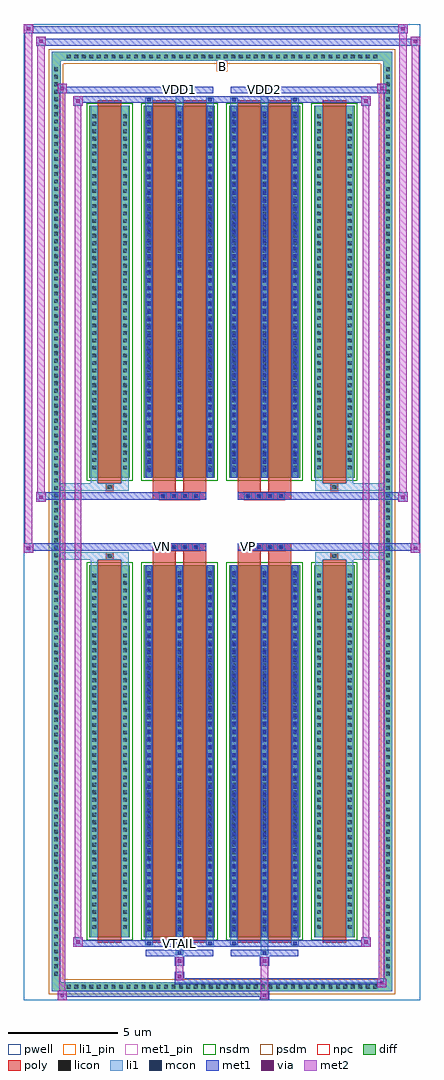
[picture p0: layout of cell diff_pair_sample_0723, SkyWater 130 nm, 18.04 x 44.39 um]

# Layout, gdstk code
import gdstk
lib = gdstk.Library(unit=1e-6, precision=5e-09)
def R(c, l, rs):  # rectangles x0, y0, x1, y1
    for r in rs: c.add(gdstk.rectangle(r[:2], r[2:], *l))
def A(c, l, x, y, w, h, nx, ny, dx, dy):  # array of equal rectangles
    R(c, l, [(x+i*dx, y+j*dy, x+i*dx+w, y+j*dy+h) for i in range(nx) for j in range(ny)])
def P(c, l, *ps):  # polygons
    for p in ps: c.add(gdstk.Polygon(p, *l))
pwell = (64, 44)
diff = (65, 20)
poly = (66, 20)
licon = (66, 44)
li1_pin = (67, 16)
li1 = (67, 20)
mcon = (67, 44)
met1_pin = (68, 16)
met1 = (68, 20)
via = (68, 44)
met2 = (69, 20)
nsdm = (93, 44)
psdm = (94, 20)
npc = (95, 20)

diff_pair_sample_0723 = lib.new_cell('diff_pair_sample_0723')
R(diff_pair_sample_0723, pwell, [(-9.02,-21.76,9.02,22.63), (-6.34,-19.95,-0.01,-0.795), (0.01,-19.95,6.34,-0.795), (-6.34,0.795,-0.01,19.95), (0.01,0.795,6.34,19.95)])
A(diff_pair_sample_0723, diff, -7.175, -21.36, 0.41, 0.41, 42, 2, 0.34, 42.31)
A(diff_pair_sample_0723, diff, -7.75, -20.775, 0.41, 0.41, 1, 122, 0, 0.34)
A(diff_pair_sample_0723, diff, 7.34, -20.775, 0.41, 0.41, 1, 122, 0, 0.34)
R(diff_pair_sample_0723, diff, [(-7.175,-21.36,7.175,-20.95), (-7.75,-20.775,-7.34,20.775), (7.34,-20.775,7.75,20.775), (-6.03,-18.905,-4.19,-1.985), (-3.55,-18.905,-0.32,-1.985), (0.32,-18.905,3.55,-1.985), (4.19,-18.905,6.03,-1.985), (-6.03,1.985,-4.19,18.905), (-3.55,1.985,-0.32,18.905), (0.32,1.985,3.55,18.905), (4.19,1.985,6.03,18.905), (-7.175,20.95,7.175,21.36)])
P(diff_pair_sample_0723, diff, [(7.75,21.36),(-7.75,21.36),(-7.75,-20.95),(-7.34,-20.95),(-7.34,20.95),(7.34,20.95),(7.34,-20.95),(-7.34,-20.95),(-7.75,-20.95),(-7.75,-21.36),(7.75,-21.36)])
A(diff_pair_sample_0723, poly, -2.85, -1.325, 0.33, 0.33, 4, 2, 0.5, 2.32)
A(diff_pair_sample_0723, poly, 1.02, -1.325, 0.33, 0.33, 4, 2, 0.5, 2.32)
R(diff_pair_sample_0723, poly, [(-5.64,-19.155,-4.58,-1.735), (-3.16,-19.155,-2.1,-1.735), (-1.77,-19.155,-0.71,-1.735), (0.71,-19.155,1.77,-1.735), (2.1,-19.155,3.16,-1.735), (4.58,-19.155,5.64,-1.735), (-5.275,-1.735,-4.945,-1.405), (-5.275,-1.735,-4.945,-1.405), (-3.16,-1.735,-2.1,-1.325), (-1.77,-1.735,-0.71,-1.325), (0.71,-1.735,1.77,-1.325), (2.1,-1.735,3.16,-1.325), (4.945,-1.735,5.275,-1.405), (4.945,-1.735,5.275,-1.405), (-3.16,-1.325,-0.71,-0.995), (0.71,-1.325,3.16,-0.995), (-3.16,0.995,-0.71,1.325), (0.71,0.995,3.16,1.325), (-3.16,1.325,-2.1,1.735), (-1.77,1.325,-0.71,1.735), (0.71,1.325,1.77,1.735), (2.1,1.325,3.16,1.735), (-5.275,1.405,-4.945,1.735), (-5.275,1.405,-4.945,1.735), (4.945,1.405,5.275,1.735), (4.945,1.405,5.275,1.735), (-5.64,1.735,-4.58,19.155), (-3.16,1.735,-2.1,19.155), (-1.77,1.735,-0.71,19.155), (0.71,1.735,1.77,19.155), (2.1,1.735,3.16,19.155), (4.58,1.735,5.64,19.155)])
A(diff_pair_sample_0723, licon, -7.055, -21.24, 0.17, 0.17, 42, 2, 0.34, 42.31)
A(diff_pair_sample_0723, licon, -7.63, -20.655, 0.17, 0.17, 1, 122, 0, 0.34)
A(diff_pair_sample_0723, licon, 7.46, -20.655, 0.17, 0.17, 1, 122, 0, 0.34)
A(diff_pair_sample_0723, licon, -5.89, -18.52, 0.17, 0.17, 1, 48, 0, 0.34)
A(diff_pair_sample_0723, licon, -4.5, -18.52, 0.17, 0.17, 1, 48, 0, 0.34)
A(diff_pair_sample_0723, licon, -3.41, -18.52, 0.17, 0.17, 3, 48, 1.39, 0.34)
A(diff_pair_sample_0723, licon, 0.46, -18.52, 0.17, 0.17, 3, 48, 1.39, 0.34)
A(diff_pair_sample_0723, licon, 4.33, -18.52, 0.17, 0.17, 1, 48, 0, 0.34)
A(diff_pair_sample_0723, licon, 5.72, -18.52, 0.17, 0.17, 1, 48, 0, 0.34)
A(diff_pair_sample_0723, licon, -2.77, -1.245, 0.17, 0.17, 4, 2, 0.5, 2.32)
A(diff_pair_sample_0723, licon, 1.1, -1.245, 0.17, 0.17, 4, 2, 0.5, 2.32)
A(diff_pair_sample_0723, licon, -5.89, 2.37, 0.17, 0.17, 1, 48, 0, 0.34)
A(diff_pair_sample_0723, licon, -4.5, 2.37, 0.17, 0.17, 1, 48, 0, 0.34)
A(diff_pair_sample_0723, licon, -3.41, 2.37, 0.17, 0.17, 3, 48, 1.39, 0.34)
A(diff_pair_sample_0723, licon, 0.46, 2.37, 0.17, 0.17, 3, 48, 1.39, 0.34)
A(diff_pair_sample_0723, licon, 4.33, 2.37, 0.17, 0.17, 1, 48, 0, 0.34)
A(diff_pair_sample_0723, licon, 5.72, 2.37, 0.17, 0.17, 1, 48, 0, 0.34)
R(diff_pair_sample_0723, licon, [(-5.195,-1.655,-5.025,-1.485), (5.025,-1.655,5.195,-1.485), (-5.195,1.485,-5.025,1.655), (5.025,1.485,5.195,1.655)])
R(diff_pair_sample_0723, li1_pin, [(-0.25,20.45,0.25,20.95)])
A(diff_pair_sample_0723, li1, -7.135, -21.32, 0.33, 0.33, 42, 2, 0.34, 42.31)
A(diff_pair_sample_0723, li1, -7.71, -20.735, 0.33, 0.33, 1, 122, 0, 0.34)
A(diff_pair_sample_0723, li1, 7.38, -20.735, 0.33, 0.33, 1, 122, 0, 0.34)
A(diff_pair_sample_0723, li1, -3.49, -18.905, 0.33, 16.92, 3, 2, 1.39, 20.89)
A(diff_pair_sample_0723, li1, 0.38, -18.905, 0.33, 16.92, 3, 2, 1.39, 20.89)
A(diff_pair_sample_0723, li1, -3.41, -18.63, 0.17, 0.17, 3, 46, 1.39, 0.36)
A(diff_pair_sample_0723, li1, -3.41, -18.63, 0.17, 16.37, 3, 2, 1.39, 20.89)
A(diff_pair_sample_0723, li1, 0.46, -18.63, 0.17, 0.17, 3, 46, 1.39, 0.36)
A(diff_pair_sample_0723, li1, 0.46, -18.63, 0.17, 16.37, 3, 2, 1.39, 20.89)
A(diff_pair_sample_0723, li1, -5.97, -18.6, 0.33, 0.33, 1, 48, 0, 0.34)
A(diff_pair_sample_0723, li1, -4.58, -18.6, 0.33, 0.33, 1, 48, 0, 0.34)
A(diff_pair_sample_0723, li1, -3.49, -18.6, 0.33, 0.33, 3, 48, 1.39, 0.34)
A(diff_pair_sample_0723, li1, 0.38, -18.6, 0.33, 0.33, 3, 48, 1.39, 0.34)
A(diff_pair_sample_0723, li1, 4.25, -18.6, 0.33, 0.33, 1, 48, 0, 0.34)
A(diff_pair_sample_0723, li1, 5.64, -18.6, 0.33, 0.33, 1, 48, 0, 0.34)
A(diff_pair_sample_0723, li1, -2.85, -1.325, 0.33, 0.33, 4, 2, 0.5, 2.32)
A(diff_pair_sample_0723, li1, 1.02, -1.325, 0.33, 0.33, 4, 2, 0.5, 2.32)
A(diff_pair_sample_0723, li1, -3.41, 2.26, 0.17, 0.17, 3, 46, 1.39, 0.36)
A(diff_pair_sample_0723, li1, 0.46, 2.26, 0.17, 0.17, 3, 46, 1.39, 0.36)
A(diff_pair_sample_0723, li1, -5.97, 2.29, 0.33, 0.33, 1, 48, 0, 0.34)
A(diff_pair_sample_0723, li1, -4.58, 2.29, 0.33, 0.33, 1, 48, 0, 0.34)
A(diff_pair_sample_0723, li1, -3.49, 2.29, 0.33, 0.33, 3, 48, 1.39, 0.34)
A(diff_pair_sample_0723, li1, 0.38, 2.29, 0.33, 0.33, 3, 48, 1.39, 0.34)
A(diff_pair_sample_0723, li1, 4.25, 2.29, 0.33, 0.33, 1, 48, 0, 0.34)
A(diff_pair_sample_0723, li1, 5.64, 2.29, 0.33, 0.33, 1, 48, 0, 0.34)
R(diff_pair_sample_0723, li1, [(-7.75,-21.36,-7.34,-20.95), (-7.75,-21.36,-7.34,-20.95), (-7.34,-21.36,7.34,-20.95), (7.34,-21.36,7.75,-20.95), (7.34,-21.36,7.75,-20.95), (-7.75,-20.95,-7.34,20.95), (7.34,-20.95,7.75,20.95), (-2.1,-19.71,-1.77,-18.905), (-2.02,-19.71,-1.85,-19.54), (1.77,-19.71,2.1,-18.905), (1.85,-19.71,2.02,-19.54), (-3.49,-19.28,-3.16,-18.905), (-3.41,-19.28,-3.24,-19.11), (-0.71,-19.28,-0.38,-18.905), (-0.63,-19.28,-0.46,-19.11), (0.38,-19.28,0.71,-18.905), (0.46,-19.28,0.63,-19.11), (3.16,-19.28,3.49,-18.905), (3.24,-19.28,3.41,-19.11), (-5.97,-18.905,-5.64,-1.985), (-4.58,-18.905,-4.25,-1.985), (4.25,-18.905,4.58,-1.985), (5.64,-18.905,5.97,-1.985), (-5.97,-1.985,-5.64,-1.405), (-4.58,-1.985,-4.25,-1.405), (4.25,-1.985,4.58,-1.405), (5.64,-1.985,5.97,-1.405), (-7.75,-1.735,-5.275,-1.405), (-5.97,-1.735,-5.275,-1.405), (-5.275,-1.735,-4.945,-1.405), (-4.945,-1.735,-4.25,-1.405), (4.25,-1.735,4.945,-1.405), (4.945,-1.735,5.275,-1.405), (4.945,-1.735,7.75,-1.405), (5.275,-1.735,5.97,-1.405), (-7.75,1.405,-5.275,1.735), (-5.97,1.405,-5.275,1.735), (-5.97,1.405,-5.64,1.985), (-5.275,1.405,-4.945,1.735), (-4.945,1.405,-4.25,1.735), (-4.58,1.405,-4.25,1.985), (4.25,1.405,4.945,1.735), (4.25,1.405,4.58,1.985), (4.945,1.405,5.275,1.735), (4.945,1.405,7.75,1.735), (5.275,1.405,5.97,1.735), (5.64,1.405,5.97,1.985), (-5.97,1.985,-5.64,18.905), (-4.58,1.985,-4.25,18.905), (4.25,1.985,4.58,18.905), (5.64,1.985,5.97,18.905), (-3.49,18.905,-3.16,19.28), (-2.1,18.905,-1.77,19.71), (-0.71,18.905,-0.38,19.28), (0.38,18.905,0.71,19.28), (1.77,18.905,2.1,19.71), (3.16,18.905,3.49,19.28), (-3.41,19.11,-3.24,19.28), (-0.63,19.11,-0.46,19.28), (0.46,19.11,0.63,19.28), (3.24,19.11,3.41,19.28), (-2.02,19.54,-1.85,19.71), (1.85,19.54,2.02,19.71), (-7.75,20.95,-7.34,21.36), (-7.75,20.95,-7.34,21.36), (-7.34,20.95,7.34,21.36), (7.34,20.95,7.75,21.36), (7.34,20.95,7.75,21.36)])
A(diff_pair_sample_0723, mcon, -3.41, -18.63, 0.17, 0.17, 3, 46, 1.39, 0.36)
A(diff_pair_sample_0723, mcon, 0.46, -18.63, 0.17, 0.17, 3, 46, 1.39, 0.36)
A(diff_pair_sample_0723, mcon, -2.77, -1.245, 0.17, 0.17, 4, 2, 0.5, 2.32)
A(diff_pair_sample_0723, mcon, 1.1, -1.245, 0.17, 0.17, 4, 2, 0.5, 2.32)
A(diff_pair_sample_0723, mcon, -3.41, 2.26, 0.17, 0.17, 3, 46, 1.39, 0.36)
A(diff_pair_sample_0723, mcon, 0.46, 2.26, 0.17, 0.17, 3, 46, 1.39, 0.36)
R(diff_pair_sample_0723, mcon, [(-2.02,-19.71,-1.85,-19.54), (1.85,-19.71,2.02,-19.54), (-3.41,-19.28,-3.24,-19.11), (-0.63,-19.28,-0.46,-19.11), (0.46,-19.28,0.63,-19.11), (3.24,-19.28,3.41,-19.11), (-3.41,19.11,-3.24,19.28), (-0.63,19.11,-0.46,19.28), (0.46,19.11,0.63,19.28), (3.24,19.11,3.41,19.28), (-2.02,19.54,-1.85,19.71), (1.85,19.54,2.02,19.71)])
R(diff_pair_sample_0723, met1_pin, [(-2.07,-19.32,-1.8,-19.05), (-2.82,-1.285,-2.55,-1.015), (1.05,-1.285,1.32,-1.015), (-2.07,19.5,-1.8,19.77), (1.8,19.5,2.07,19.77)])
A(diff_pair_sample_0723, met1, -3.47, -18.905, 0.29, 16.92, 3, 2, 1.39, 20.89)
A(diff_pair_sample_0723, met1, 0.4, -18.905, 0.29, 16.92, 3, 2, 1.39, 20.89)
A(diff_pair_sample_0723, met1, -3.47, -18.69, 0.29, 0.29, 3, 46, 1.39, 0.36)
A(diff_pair_sample_0723, met1, 0.4, -18.69, 0.29, 0.29, 3, 46, 1.39, 0.36)
A(diff_pair_sample_0723, met1, -2.83, -1.305, 0.29, 0.29, 4, 2, 0.5, 2.32)
A(diff_pair_sample_0723, met1, 1.04, -1.305, 0.29, 0.29, 4, 2, 0.5, 2.32)
A(diff_pair_sample_0723, met1, -3.47, 2.2, 0.29, 0.29, 3, 46, 1.39, 0.36)
A(diff_pair_sample_0723, met1, 0.4, 2.2, 0.29, 0.29, 3, 46, 1.39, 0.36)
R(diff_pair_sample_0723, met1, [(-7.48,-21.76,-7.05,-21.33), (1.72,-21.76,2.15,-21.33), (-7.48,-21.62,2.15,-21.33), (7.05,-21.19,7.48,-20.76), (-2.15,-21.05,7.48,-20.76), (-2.15,-20.91,-1.72,-20.48), (-2.15,-20.2,-1.72,-19.77), (1.72,-20.2,2.15,-19.77), (-3.47,-19.77,-0.4,-19.48), (-2.08,-19.77,-1.79,-19.48), (0.4,-19.77,3.47,-19.48), (1.79,-19.77,2.08,-19.48), (-6.77,-19.34,-6.34,-18.91), (-6.77,-19.34,-3.47,-19.05), (-3.47,-19.34,-3.18,-19.05), (-3.47,-19.34,-0.4,-19.05), (-0.69,-19.34,-0.4,-19.05), (-0.4,-19.34,0.4,-19.05), (0.4,-19.34,0.69,-19.05), (0.4,-19.34,3.47,-19.05), (3.18,-19.34,3.47,-19.05), (3.47,-19.34,6.77,-19.05), (6.34,-19.34,6.77,-18.91), (-9.02,-1.425,-8.59,-0.995), (8.59,-1.425,9.02,-0.995), (-9.02,-1.325,-0.71,-0.995), (-3.16,-1.325,-0.71,-0.995), (0.71,-1.325,3.16,-0.995), (0.71,-1.325,9.02,-0.995), (-8.45,0.895,-8.02,1.325), (8.02,0.895,8.45,1.325), (-8.45,0.995,-3.16,1.325), (-3.16,0.995,-0.71,1.325), (0.71,0.995,3.16,1.325), (3.16,0.995,8.45,1.325), (-6.77,18.91,-6.34,19.34), (6.34,18.91,6.77,19.34), (-6.77,19.05,-3.47,19.34), (-3.47,19.05,-3.18,19.34), (-3.47,19.05,-0.4,19.34), (-0.69,19.05,-0.4,19.34), (-0.4,19.05,0.4,19.34), (0.4,19.05,0.69,19.34), (0.4,19.05,3.47,19.34), (3.18,19.05,3.47,19.34), (3.47,19.05,6.77,19.34), (-7.48,19.48,-7.05,19.91), (-7.48,19.48,-3.47,19.77), (-3.47,19.48,-0.4,19.77), (-2.08,19.48,-1.79,19.77), (0.4,19.48,3.47,19.77), (1.79,19.48,2.08,19.77), (3.47,19.48,7.48,19.77), (7.05,19.48,7.48,19.91), (-8.45,21.63,-8.02,22.06), (-8.45,21.63,-6.34,21.96), (-6.34,21.63,6.34,21.96), (6.34,21.63,9.02,21.96), (8.59,21.63,9.02,22.06), (-9.02,22.2,-8.59,22.63), (-9.02,22.2,-6.34,22.53), (-6.34,22.2,6.34,22.53), (6.34,22.2,8.45,22.53), (8.02,22.2,8.45,22.63)])
R(diff_pair_sample_0723, via, [(-7.34,-21.62,-7.19,-21.47), (1.86,-21.62,2.01,-21.47), (7.19,-21.05,7.34,-20.9), (-2.01,-20.77,-1.86,-20.62), (-2.01,-20.06,-1.86,-19.91), (1.86,-20.06,2.01,-19.91), (-6.63,-19.2,-6.48,-19.05), (6.48,-19.2,6.63,-19.05), (-8.88,-1.285,-8.73,-1.135), (8.73,-1.285,8.88,-1.135), (-8.31,1.035,-8.16,1.185), (8.16,1.035,8.31,1.185), (-6.63,19.05,-6.48,19.2), (6.48,19.05,6.63,19.2), (-7.34,19.62,-7.19,19.77), (7.19,19.62,7.34,19.77), (-8.31,21.77,-8.16,21.92), (8.73,21.77,8.88,21.92), (-8.88,22.34,-8.73,22.49), (8.16,22.34,8.31,22.49)])
R(diff_pair_sample_0723, met2, [(-7.48,-21.76,-7.05,-21.33), (-7.41,-21.76,-7.12,19.91), (-7.12,-21.76,-7.05,-21.33), (-7.43,-21.71,-7.1,-21.38), (1.77,-21.71,2.1,-21.38), (1.77,-21.38,2.1,-20.15), (7.05,-21.19,7.48,-20.76), (7.12,-21.19,7.41,19.91), (7.41,-21.19,7.48,-20.76), (7.1,-21.14,7.43,-20.81), (-2.1,-20.86,-1.77,-20.53), (-2.1,-20.53,-1.77,-20.15), (-2.1,-20.15,-1.77,-19.82), (1.77,-20.15,2.1,-19.82), (-6.77,-19.34,-6.34,-18.91), (-6.7,-19.34,-6.41,19.34), (-6.41,-19.34,-6.34,-18.91), (6.34,-19.34,6.77,-18.91), (6.41,-19.34,6.7,19.34), (6.7,-19.34,6.77,-18.91), (-6.72,-19.29,-6.39,-18.96), (6.39,-19.29,6.72,-18.96), (-9.02,-1.425,-8.59,-0.995), (-8.97,-1.425,-8.64,22.63), (-8.64,-1.425,-8.59,-0.995), (8.59,-1.425,9.02,-0.995), (8.64,-1.425,8.97,22.06), (8.97,-1.425,9.02,-0.995), (-8.97,-1.375,-8.64,-1.045), (8.64,-1.375,8.97,-1.045), (-8.45,0.895,-8.02,1.325), (-8.4,0.895,-8.07,22.06), (-8.07,0.895,-8.02,1.325), (8.02,0.895,8.45,1.325), (8.07,0.895,8.4,22.63), (8.4,0.895,8.45,1.325), (-8.4,0.945,-8.07,1.275), (8.07,0.945,8.4,1.275), (-6.77,18.91,-6.34,19.34), (-6.41,18.91,-6.34,19.34), (6.34,18.91,6.77,19.34), (6.7,18.91,6.77,19.34), (-6.72,18.96,-6.39,19.29), (6.39,18.96,6.72,19.29), (-7.48,19.48,-7.05,19.91), (-7.12,19.48,-7.05,19.91), (7.05,19.48,7.48,19.91), (7.41,19.48,7.48,19.91), (-7.43,19.53,-7.1,19.86), (7.1,19.53,7.43,19.86), (-8.45,21.63,-8.02,22.06), (-8.07,21.63,-8.02,22.06), (8.59,21.63,9.02,22.06), (8.97,21.63,9.02,22.06), (-8.4,21.68,-8.07,22.01), (8.64,21.68,8.97,22.01), (-9.02,22.2,-8.59,22.63), (-8.64,22.2,-8.59,22.63), (8.02,22.2,8.45,22.63), (8.4,22.2,8.45,22.63), (-8.97,22.25,-8.64,22.58), (8.07,22.25,8.4,22.58)])
R(diff_pair_sample_0723, nsdm, [(-6.16,-19.035,-4.06,-1.855), (-3.68,-19.035,-0.19,-1.855), (0.19,-19.035,3.68,-1.855), (4.06,-19.035,6.16,-1.855), (-6.16,1.855,-4.06,19.035), (-3.68,1.855,-0.19,19.035), (0.19,1.855,3.68,19.035), (4.06,1.855,6.16,19.035)])
P(diff_pair_sample_0723, psdm, [(7.88,21.49),(-7.88,21.49),(-7.88,-20.82),(-7.21,-20.82),(-7.21,20.82),(7.21,20.82),(7.21,-20.82),(-7.21,-20.82),(-7.88,-20.82),(-7.88,-21.49),(7.88,-21.49)])
A(diff_pair_sample_0723, npc, -2.87, -1.345, 0.37, 0.37, 4, 2, 0.5, 2.32)
A(diff_pair_sample_0723, npc, 1, -1.345, 0.37, 0.37, 4, 2, 0.5, 2.32)
R(diff_pair_sample_0723, npc, [(-5.295,-1.755,-4.925,-1.385), (4.925,-1.755,5.295,-1.385), (-2.87,-1.345,-2,-0.975), (-2.87,-1.345,-2,-0.975), (-2.37,-1.345,-1.5,-0.975), (-2.37,-1.345,-1.5,-0.975), (-1.87,-1.345,-1,-0.975), (-1.87,-1.345,-1,-0.975), (1,-1.345,1.87,-0.975), (1,-1.345,1.87,-0.975), (1.5,-1.345,2.37,-0.975), (1.5,-1.345,2.37,-0.975), (2,-1.345,2.87,-0.975), (2,-1.345,2.87,-0.975), (-2.87,0.975,-2,1.345), (-2.87,0.975,-2,1.345), (-2.37,0.975,-1.5,1.345), (-2.37,0.975,-1.5,1.345), (-1.87,0.975,-1,1.345), (-1.87,0.975,-1,1.345), (1,0.975,1.87,1.345), (1,0.975,1.87,1.345), (1.5,0.975,2.37,1.345), (1.5,0.975,2.37,1.345), (2,0.975,2.87,1.345), (2,0.975,2.87,1.345), (-5.295,1.385,-4.925,1.755), (4.925,1.385,5.295,1.755)])
diff_pair_sample_0723.add(gdstk.Label('VTAIL', (-1.935,-19.185), layer=68, texttype=5))
diff_pair_sample_0723.add(gdstk.Label('VN', (-2.685,-1.15), layer=68, texttype=5))
diff_pair_sample_0723.add(gdstk.Label('VP', (1.185,-1.15), layer=68, texttype=5))
diff_pair_sample_0723.add(gdstk.Label('B', (0,20.7), layer=67, texttype=5))
diff_pair_sample_0723.add(gdstk.Label('VDD2', (1.935,19.635), layer=68, texttype=5))
diff_pair_sample_0723.add(gdstk.Label('VDD1', (-1.935,19.635), layer=68, texttype=5))

lib.write_gds('diff_pair_sample_0723.gds')
